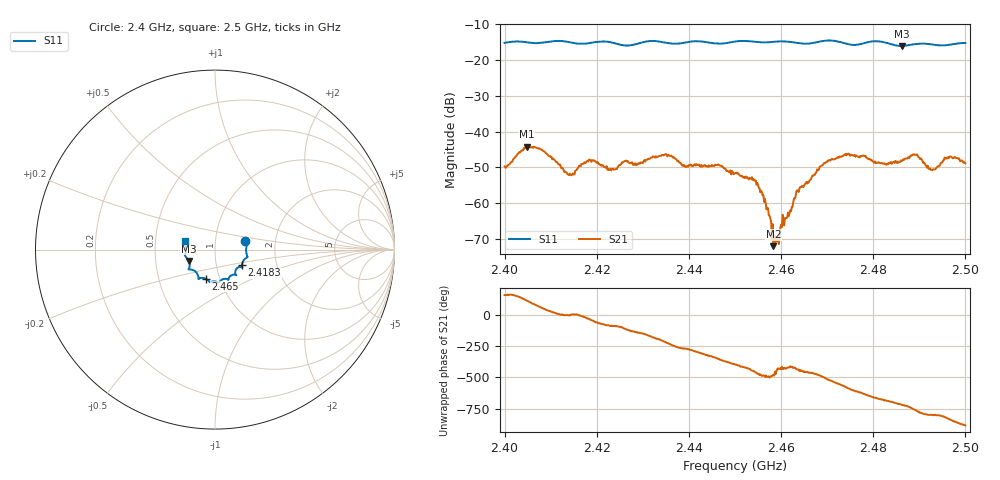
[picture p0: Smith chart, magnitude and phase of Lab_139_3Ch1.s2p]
# Hz S RI R
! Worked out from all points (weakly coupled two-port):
!   601 points, 2.4 GHz to 2.5 GHz, reference 50 ohm
!   highest |S21| = -44.17 dB at 2.4048 GHz (marker M1); lowest = -72.0 dB at 2.4583 GHz (marker M2)
!   lowest |S11| = -16.0 dB at 2.4862 GHz (marker M3), VSWR 1.38, Z = 37.1 - j4.81 ohm
!   |S11| at or under -10 dB: start of sweep to end of sweep
!   S12 and S22 are empty: the file has one direction only
!   S11 on the Smith chart (normalised r, x): 2.4 GHz: 1.40, +0.13; 2.4183 GHz: 1.33, -0.24; 2.465 GHz: 0.86, -0.29; 2.5 GHz: 0.71, +0.07
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2.4e9  0.1688 0.046  -0.00299 0.00129  0 0  0 0
2.404833e9  0.1765 0.0205  -0.00234 0.00573  0 0  0 0
2.414e9  0.1725 -0.0471  0.00246 -0.00018  0 0  0 0
2.416667e9  0.1552 -0.0682  0.00347 -0.00066  0 0  0 0
2.418333e9  0.1501 -0.0868  0.0034 -0.00224  0 0  0 0
2.423667e9  0.1449 -0.0969  -6.27e-05 -0.00294  0 0  0 0
2.433333e9  0.1167 -0.1412  -0.00435 0.00107  0 0  0 0
2.45e9  0.0254 -0.1804  0.00211 -0.00159  0 0  0 0
2.454833e9  0.00885 -0.179  -0.000665 -0.0018  0 0  0 0
2.457e9  -0.01 -0.1775  -0.000606 -0.000617  0 0  0 0
2.458333e9  -0.0202 -0.1795  -0.000129 -0.000214  0 0  0 0
2.459333e9  -0.0255 -0.1809  0.00012 -0.000291  0 0  0 0
2.463167e9  -0.0372 -0.1717  0.000462 -0.00116  0 0  0 0
2.465e9  -0.0527 -0.1621  -5.13e-05 -0.00177  0 0  0 0
2.466667e9  -0.0712 -0.1576  -0.00049 -0.00227  0 0  0 0
2.474167e9  -0.0962 -0.1401  -0.00361 0.00294  0 0  0 0
2.483333e9  -0.1422 -0.096  0.00311 0.00193  0 0  0 0
2.486167e9  -0.1448 -0.0633  0.00385 9.39e-05  0 0  0 0
2.489167e9  -0.1633 -0.0399  0.00362 -0.00309  0 0  0 0
2.493e9  -0.1639 -0.0193  0.000577 -0.00292  0 0  0 0
2.4965e9  -0.1627 0.0221  -0.0016 -0.00401  0 0  0 0
2.5e9  -0.1668 0.0474  -0.00346 -0.00106  0 0  0 0
